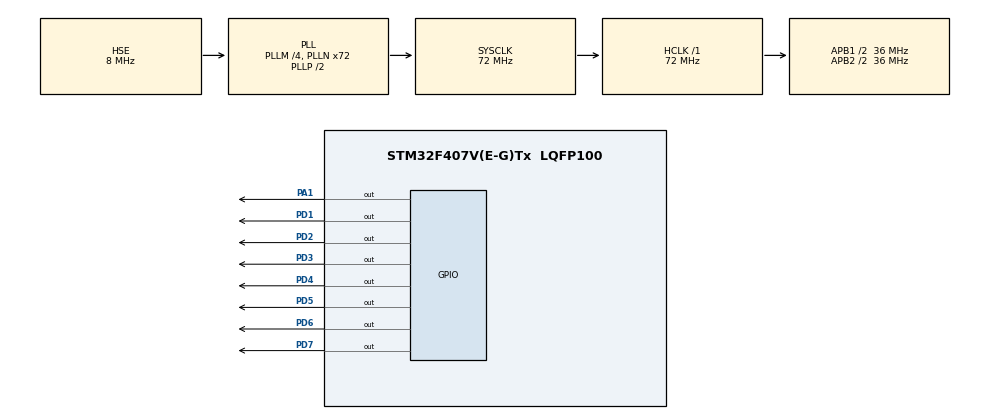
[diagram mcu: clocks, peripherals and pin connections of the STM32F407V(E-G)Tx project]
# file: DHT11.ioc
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Mcu.Family=STM32F4
Mcu.Name=STM32F407V(E-G)Tx
Mcu.Package=LQFP100
NVIC.PriorityGroup=NVIC_PRIORITYGROUP_0
PA1.Signal=GPIO_Output
PA13.Mode=Serial_Wire
PA13.Signal=SYS_JTMS-SWDIO
PA14.Mode=Serial_Wire
PA14.Signal=SYS_JTCK-SWCLK
PD1.Signal=GPIO_Output
PD2.Signal=GPIO_Output
PD3.Signal=GPIO_Output
PD4.Signal=GPIO_Output
PD5.Signal=GPIO_Output
PD6.Signal=GPIO_Output
PD7.Signal=GPIO_Output
PH0-OSC_IN.Mode=HSE-External-Oscillator
PH0-OSC_IN.Signal=RCC_OSC_IN
PH1-OSC_OUT.Mode=HSE-External-Oscillator
PH1-OSC_OUT.Signal=RCC_OSC_OUT
ProjectManager.HeapSize=0x200
ProjectManager.StackSize=0x400
ProjectManager.TargetToolchain=STM32CubeIDE
RCC.48MHZClocksFreq_Value=48000000
RCC.AHBFreq_Value=72000000
RCC.APB1CLKDivider=RCC_HCLK_DIV2
RCC.APB1Freq_Value=36000000
RCC.APB1TimFreq_Value=72000000
RCC.APB2CLKDivider=RCC_HCLK_DIV2
RCC.APB2Freq_Value=36000000
RCC.APB2TimFreq_Value=72000000
RCC.CortexFreq_Value=72000000
RCC.HCLKFreq_Value=72000000
RCC.HSE_VALUE=8000000
RCC.HSI_VALUE=16000000
RCC.LSE_VALUE=32768
RCC.PLLI2SN=50
RCC.PLLM=4
RCC.PLLN=72
RCC.PLLQ=3
RCC.PLLSourceVirtual=RCC_PLLSOURCE_HSE
RCC.SYSCLKFreq_VALUE=72000000
RCC.SYSCLKSource=RCC_SYSCLKSOURCE_PLLCLK
RCC.VCOOutputFreq_Value=144000000
TIM1.Period=0xffff-1
TIM1.Prescaler=72-1
VP_TIM1_VS_ClockSourceINT.Mode=Internal
board=STM32F407G-DISC1

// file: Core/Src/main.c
/* USER CODE BEGIN Header */
/**
  ******************************************************************************
  * @file           : main.c
  * @brief          : Main program body
  ******************************************************************************
  * @attention
  *
  * Copyright (c) 2023 STMicroelectronics.
  * All rights reserved.
  *
  * This software is licensed under terms that can be found in the LICENSE file
  * in the root directory of this software component.
  * If no LICENSE file comes with this software, it is provided AS-IS.
  *
  ******************************************************************************
  */
/* USER CODE END Header */
#include "main.h"
#include <stdio.h>
/* USER CODE BEGIN Includes */
#include "LCD1602.h"
/* USER CODE END Includes */

TIM_HandleTypeDef htim1;

void SystemClock_Config(void);
static void MX_GPIO_Init(void);
static void MX_TIM1_Init(void);

/* USER CODE BEGIN 0 */
int row=0;
int col=0;
 //USER CODE END 0 */
/*
*/

void Display_Temp(float Temp){

	char str[20]={0};
	lcd_put_cur(0,0);

	sprintf(str,"Temp:%.2f",Temp);
	lcd_send_string(str);
	lcd_send_data('C');
}

void Display_Rh(float Rh){

	char str[20]={0};
	lcd_put_cur(1,0);

	sprintf(str,"Rh:%.2f",Rh);
	lcd_send_string(str);
	lcd_send_data('%');
}

uint8_t Rh_byte1, Rh_byte2, Temp_byte1, Temp_byte2;
uint16_t SUM, RH, TEMP;

float Temperature = 0;
float Humidity = 0;
uint8_t Presence = 0;

void Set_Pin_Output (GPIO_TypeDef *GPIOx, uint16_t GPIO_Pin)
{
	GPIO_InitTypeDef GPIO_InitStruct = {0};
	GPIO_InitStruct.Pin = GPIO_Pin;
	GPIO_InitStruct.Mode = GPIO_MODE_OUTPUT_PP;
	GPIO_InitStruct.Speed = GPIO_SPEED_FREQ_LOW;
	HAL_GPIO_Init(GPIOx, &GPIO_InitStruct);
}

void Set_Pin_Input (GPIO_TypeDef *GPIOx, uint16_t GPIO_Pin)
{
	GPIO_InitTypeDef GPIO_InitStruct = {0};
	GPIO_InitStruct.Pin = GPIO_Pin;
	GPIO_InitStruct.Mode = GPIO_MODE_INPUT;
	GPIO_InitStruct.Pull = GPIO_PULLUP;
	HAL_GPIO_Init(GPIOx, &GPIO_InitStruct);
}

/*********************************** DHT11 FUNCTIONS ********************************************/

#define DHT11_PORT GPIOA
#define DHT11_PIN GPIO_PIN_1

void DHT11_Start (void)
{
	Set_Pin_Output (DHT11_PORT, DHT11_PIN);  // set the pin as output
	HAL_GPIO_WritePin (DHT11_PORT, DHT11_PIN, 0);   // pull the pin low
	delay (18000);   // wait for 18ms
    HAL_GPIO_WritePin (DHT11_PORT, DHT11_PIN, 1);   // pull the pin high
	delay (20);   // wait for 20us
	Set_Pin_Input(DHT11_PORT, DHT11_PIN);    // set as input
}

uint8_t DHT11_Check_Response (void)
{
	uint8_t Response = 0;
	delay (40);
	if (!(HAL_GPIO_ReadPin (DHT11_PORT, DHT11_PIN)))
	{
		delay (80);
		if ((HAL_GPIO_ReadPin (DHT11_PORT, DHT11_PIN))) Response = 1;
		else Response = -1; // 255
	}
	while ((HAL_GPIO_ReadPin (DHT11_PORT, DHT11_PIN)));   // wait for the pin to go low

	return Response;
}
uint8_t DHT11_Read (void)
{
	uint8_t i,j;
	for (j=0;j<8;j++)
	{
		while (!(HAL_GPIO_ReadPin (DHT11_PORT, DHT11_PIN)));   // wait for the pin to go high
		delay (40);   // wait for 40 us
		if (!(HAL_GPIO_ReadPin (DHT11_PORT, DHT11_PIN)))   // if the pin is low
		{
			i&= ~(1<<(7-j));   // write 0
		}
		else i|= (1<<(7-j));  // if the pin is high, write 1
		while ((HAL_GPIO_ReadPin (DHT11_PORT, DHT11_PIN)));  // wait for the pin to go low
	}
	return i;
}

int main(void)
{

  /* MCU Configuration--------------------------------------------------------*/

  /* Reset of all peripherals, Initializes the Flash interface and the Systick. */
  HAL_Init();

  /* Configure the system clock */
  SystemClock_Config();

  /* Initialize all configured peripherals */
  MX_GPIO_Init();
  MX_TIM1_Init();
  /* USER CODE BEGIN 2 */

  HAL_TIM_Base_Start(&htim1);
  lcd_init();
  lcd_put_cur(0,0);
  lcd_send_string("Initialising...");
 // lcd_send_string("Temperature:");
 //lcd_put_cur(1,0);
// lcd_send_string("Humidity:");
  HAL_Delay(3000);
  	  lcd_clear();

  /* USER CODE END 2 */

  /* Infinite loop */
  while (1)
  {

    /* USER CODE BEGIN 3 */

	  Display_Temp(Temperature);
	  Display_Rh(Humidity);

	  DHT11_Start();
	  Presence=DHT11_Check_Response();
	  Rh_byte1=DHT11_Read();
	  Rh_byte2=DHT11_Read();
	  Temp_byte1=DHT11_Read();
	  Temp_byte2=DHT11_Read();
	  SUM=DHT11_Read();

	  TEMP= Temp_byte1;
	  RH= Rh_byte1;

	  Temperature = (float)TEMP;
	  Humidity	= (float)RH;

	  HAL_Delay(1000);
		 // for (int i=0;i<1;i++)
	  	  {
	  		//lcd_put_cur(row, col);

	  		//lcd_send_data(i+48);

	  		  //col++;

	  		  //if (col > 15) {row++; col = 0;}
	  		  //if (row > 1) row=0;

	  		  //HAL_Delay(250);
	  	  }
  }
  /* USER CODE END 3 */
}

void SystemClock_Config(void)
{
  RCC_OscInitTypeDef RCC_OscInitStruct = {0};
  RCC_ClkInitTypeDef RCC_ClkInitStruct = {0};

  /** Configure the main internal regulator output voltage
  */
  __HAL_RCC_PWR_CLK_ENABLE();
  __HAL_PWR_VOLTAGESCALING_CONFIG(PWR_REGULATOR_VOLTAGE_SCALE1);

  /** Initializes the RCC Oscillators according to the specified parameters
  * in the RCC_OscInitTypeDef structure.
  */
  RCC_OscInitStruct.OscillatorType = RCC_OSCILLATORTYPE_HSE;
  RCC_OscInitStruct.HSEState = RCC_HSE_ON;
  RCC_OscInitStruct.PLL.PLLState = RCC_PLL_ON;
  RCC_OscInitStruct.PLL.PLLSource = RCC_PLLSOURCE_HSE;
  RCC_OscInitStruct.PLL.PLLM = 4;
  RCC_OscInitStruct.PLL.PLLN = 72;
  RCC_OscInitStruct.PLL.PLLP = RCC_PLLP_DIV2;
  RCC_OscInitStruct.PLL.PLLQ = 3;
  if (HAL_RCC_OscConfig(&RCC_OscInitStruct) != HAL_OK)
  {
    Error_Handler();
  }

  /** Initializes the CPU, AHB and APB buses clocks
  */
  RCC_ClkInitStruct.ClockType = RCC_CLOCKTYPE_HCLK|RCC_CLOCKTYPE_SYSCLK
                              |RCC_CLOCKTYPE_PCLK1|RCC_CLOCKTYPE_PCLK2;
  RCC_ClkInitStruct.SYSCLKSource = RCC_SYSCLKSOURCE_PLLCLK;
  RCC_ClkInitStruct.AHBCLKDivider = RCC_SYSCLK_DIV1;
  RCC_ClkInitStruct.APB1CLKDivider = RCC_HCLK_DIV2;
  RCC_ClkInitStruct.APB2CLKDivider = RCC_HCLK_DIV2;

  if (HAL_RCC_ClockConfig(&RCC_ClkInitStruct, FLASH_LATENCY_2) != HAL_OK)
  {
    Error_Handler();
  }
}

static void MX_TIM1_Init(void)
{

  TIM_ClockConfigTypeDef sClockSourceConfig = {0};
  TIM_MasterConfigTypeDef sMasterConfig = {0};

  htim1.Instance = TIM1;
  htim1.Init.Prescaler = 72-1;
  htim1.Init.CounterMode = TIM_COUNTERMODE_UP;
  htim1.Init.Period = 0xffff-1;
  htim1.Init.ClockDivision = TIM_CLOCKDIVISION_DIV1;
  htim1.Init.RepetitionCounter = 0;
  htim1.Init.AutoReloadPreload = TIM_AUTORELOAD_PRELOAD_DISABLE;
  if (HAL_TIM_Base_Init(&htim1) != HAL_OK)
  {
    Error_Handler();
  }
  sClockSourceConfig.ClockSource = TIM_CLOCKSOURCE_INTERNAL;
  if (HAL_TIM_ConfigClockSource(&htim1, &sClockSourceConfig) != HAL_OK)
  {
    Error_Handler();
  }
  sMasterConfig.MasterOutputTrigger = TIM_TRGO_RESET;
  sMasterConfig.MasterSlaveMode = TIM_MASTERSLAVEMODE_DISABLE;
  if (HAL_TIMEx_MasterConfigSynchronization(&htim1, &sMasterConfig) != HAL_OK)
  {
    Error_Handler();
  }

}

static void MX_GPIO_Init(void)
{
  GPIO_InitTypeDef GPIO_InitStruct = {0};

  /* GPIO Ports Clock Enable */
  __HAL_RCC_GPIOH_CLK_ENABLE();
  __HAL_RCC_GPIOA_CLK_ENABLE();
  __HAL_RCC_GPIOD_CLK_ENABLE();

  /*Configure GPIO pin Output Level */
  HAL_GPIO_WritePin(GPIOD, GPIO_PIN_1|GPIO_PIN_2|GPIO_PIN_3|GPIO_PIN_4
                          |GPIO_PIN_5|GPIO_PIN_6|GPIO_PIN_7, GPIO_PIN_RESET);

  /*Configure GPIO pins : PD1 PD2 PD3 PD4
                           PD5 PD6 PD7 */
  GPIO_InitStruct.Pin = GPIO_PIN_1|GPIO_PIN_2|GPIO_PIN_3|GPIO_PIN_4
                          |GPIO_PIN_5|GPIO_PIN_6|GPIO_PIN_7;
  GPIO_InitStruct.Mode = GPIO_MODE_OUTPUT_PP;
  GPIO_InitStruct.Pull = GPIO_NOPULL;
  GPIO_InitStruct.Speed = GPIO_SPEED_FREQ_LOW;
  HAL_GPIO_Init(GPIOD, &GPIO_InitStruct);

}

void Error_Handler(void)
{
  __disable_irq();
  while (1)
  {
  }
}
